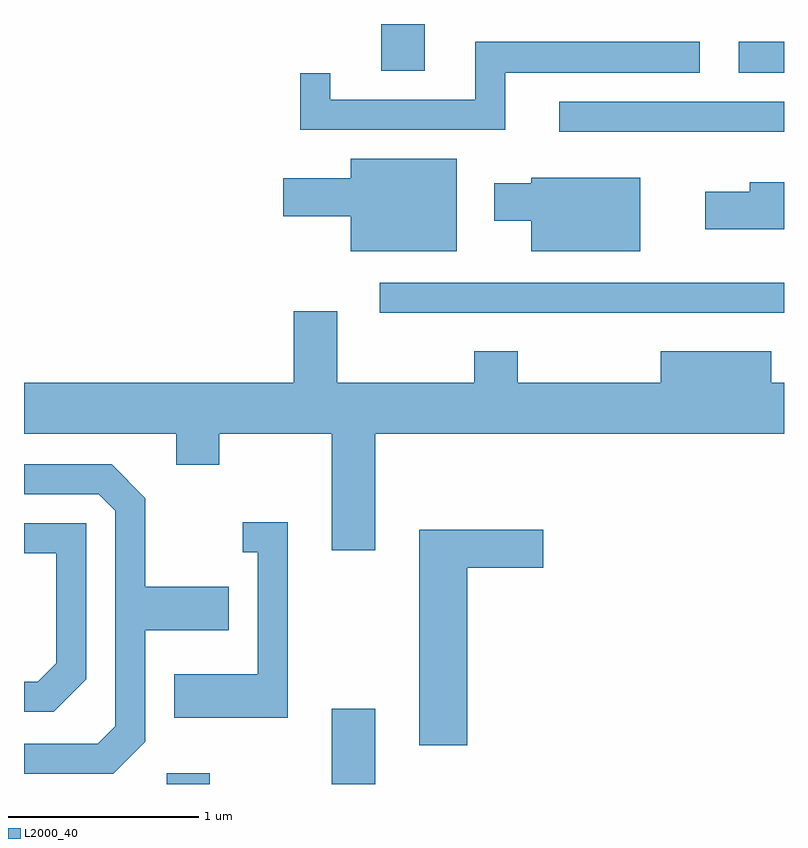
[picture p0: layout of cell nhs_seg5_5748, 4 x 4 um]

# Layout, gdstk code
import gdstk
lib = gdstk.Library(unit=1e-6, precision=1e-09)
def R(c, l, rs):  # rectangles x0, y0, x1, y1
    for r in rs: c.add(gdstk.rectangle(r[:2], r[2:], *l))
def P(c, l, *ps):  # polygons
    for p in ps: c.add(gdstk.Polygon(p, *l))
L2000_40 = (2000, 40)

nhs_seg5_5748 = lib.new_cell('nhs_seg5_5748')
R(nhs_seg5_5748, L2000_40, [(356.361,1446.072,356.589,1446.129), (357.231,1446.072,357.459,1446.469), (357.483,1448.551,359.611,1448.709), (358.428,1449.506,359.611,1449.664), (359.373,1449.816,359.611,1449.979), (357.491,1449.826,357.719,1450.072)])
P(nhs_seg5_5748, L2000_40, [(358.144,1449.816),(359.168,1449.816),(359.168,1449.979),(357.986,1449.979),(357.986,1449.674),(357.224,1449.674),(357.224,1449.813),(357.066,1449.813),(357.066,1449.516),(358.144,1449.516)],
  [(357.889,1449.364),(357.331,1449.364),(357.331,1449.259),(356.976,1449.259),(356.976,1449.061),(357.331,1449.061),(357.331,1448.876),(357.889,1448.876)],
  [(358.854,1449.264),(358.281,1449.264),(358.281,1449.234),(358.086,1449.234),(358.086,1449.036),(358.281,1449.036),(358.281,1448.876),(358.854,1448.876)],
  [(359.611,1449.239),(359.431,1449.239),(359.431,1449.189),(359.196,1449.189),(359.196,1448.991),(359.611,1448.991)],
  [(357.459,1447.916),(359.611,1447.916),(359.611,1448.184),(359.544,1448.184),(359.544,1448.349),(358.961,1448.349),(358.961,1448.184),(358.209,1448.184),(358.209,1448.349),(357.981,1448.349),(357.981,1448.184),(357.259,1448.184),(357.259,1448.559),(357.031,1448.559),(357.031,1448.184),(355.611,1448.184),(355.611,1447.916),(356.411,1447.916),(356.411,1447.751),(356.639,1447.751),(356.639,1447.916),(357.231,1447.916),(357.231,1447.301),(357.459,1447.301)],
  [(356.249,1446.294),(356.249,1446.881),(356.689,1446.881),(356.689,1447.109),(356.249,1447.109),(356.249,1447.577),(356.072,1447.754),(355.611,1447.754),(355.611,1447.596),(356.004,1447.596),(356.091,1447.509),(356.091,1446.377),(355.999,1446.284),(355.611,1446.284),(355.611,1446.126),(356.082,1446.126)],
  [(356.999,1447.449),(356.763,1447.449),(356.763,1447.291),(356.841,1447.291),(356.841,1446.649),(356.401,1446.649),(356.401,1446.421),(356.999,1446.421)],
  [(355.939,1446.624),(355.939,1447.444),(355.611,1447.444),(355.611,1447.286),(355.781,1447.286),(355.781,1446.707),(355.684,1446.609),(355.611,1446.609),(355.611,1446.451),(355.767,1446.451)],
  [(357.944,1447.211),(358.344,1447.211),(358.344,1447.409),(357.691,1447.409),(357.691,1446.276),(357.944,1446.276)])

lib.write_gds('nhs_seg5_5748.gds')
